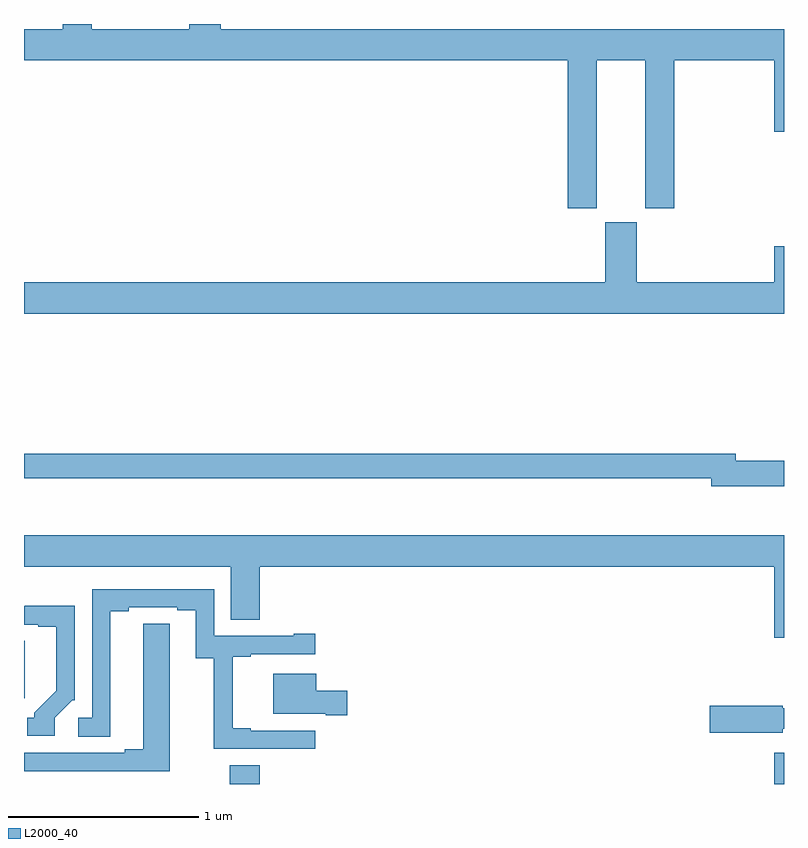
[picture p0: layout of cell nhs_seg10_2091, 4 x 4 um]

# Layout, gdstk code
import gdstk
lib = gdstk.Library(unit=1e-6, precision=1e-09)
def R(c, l, rs):  # rectangles x0, y0, x1, y1
    for r in rs: c.add(gdstk.rectangle(r[:2], r[2:], *l))
def P(c, l, *ps):  # polygons
    for p in ps: c.add(gdstk.Polygon(p, *l))
L2000_40 = (2000, 40)

nhs_seg10_2091 = lib.new_cell('nhs_seg10_2091')
R(nhs_seg10_2091, L2000_40, [(222.082,1304.5,222.242,1304.6), (224.948,1304.5,225,1304.665), (221,1304.952,221.005,1305.254)])
P(nhs_seg10_2091, L2000_40, [(224.014,1308.308),(224.27,1308.308),(224.27,1307.529),(224.423,1307.529),(224.423,1308.308),(224.948,1308.308),(224.948,1307.934),(225,1307.934),(225,1308.472),(222.035,1308.472),(222.035,1308.5),(221.87,1308.5),(221.87,1308.472),(221.357,1308.472),(221.357,1308.5),(221.205,1308.5),(221.205,1308.472),(221,1308.472),(221,1308.308),(223.862,1308.308),(223.862,1307.529),(224.014,1307.529)],
  [(225,1307.329),(224.948,1307.329),(224.948,1307.14),(224.224,1307.14),(224.224,1307.457),(224.06,1307.457),(224.06,1307.14),(221,1307.14),(221,1306.976),(225,1306.976)],
  [(225,1306.202),(224.746,1306.202),(224.746,1306.238),(221,1306.238),(221,1306.11),(224.618,1306.11),(224.618,1306.067),(225,1306.067)],
  [(225,1305.808),(221,1305.808),(221,1305.644),(222.089,1305.644),(222.089,1305.364),(222.242,1305.364),(222.242,1305.644),(224.948,1305.644),(224.948,1305.27),(225,1305.27)],
  [(222.532,1304.781),(222.193,1304.781),(222.193,1304.794),(222.098,1304.794),(222.098,1305.171),(222.193,1305.171),(222.193,1305.183),(222.532,1305.183),(222.532,1305.292),(222.419,1305.292),(222.419,1305.279),(222,1305.279),(222,1305.525),(221.358,1305.525),(221.358,1304.85),(221.286,1304.85),(221.286,1304.749),(221.455,1304.749),(221.455,1305.409),(221.551,1305.409),(221.551,1305.429),(221.807,1305.429),(221.807,1305.414),(221.903,1305.414),(221.903,1305.163),(221.998,1305.163),(221.998,1304.685),(222.532,1304.685)],
  [(221.163,1304.85),(221.253,1304.94),(221.268,1304.94),(221.268,1305.437),(221.005,1305.437),(221.005,1305.435),(221,1305.435),(221,1305.339),(221.075,1305.339),(221.075,1305.327),(221.171,1305.327),(221.171,1304.99),(221.055,1304.874),(221.055,1304.85),(221.016,1304.85),(221.016,1304.754),(221.163,1304.754)],
  [(221.767,1305.236),(221.766,1305.236),(221.766,1305.344),(221.627,1305.344),(221.627,1304.684),(221.531,1304.684),(221.531,1304.664),(221,1304.664),(221,1304.568),(221.767,1304.568)],
  [(222.7,1304.992),(222.538,1304.992),(222.538,1305.079),(222.311,1305.079),(222.311,1304.87),(222.587,1304.87),(222.587,1304.863),(222.7,1304.863)],
  [(224.994,1304.79),(225,1304.79),(225,1304.899),(224.994,1304.899),(224.994,1304.912),(224.61,1304.912),(224.61,1304.77),(224.994,1304.77)])

lib.write_gds('nhs_seg10_2091.gds')
